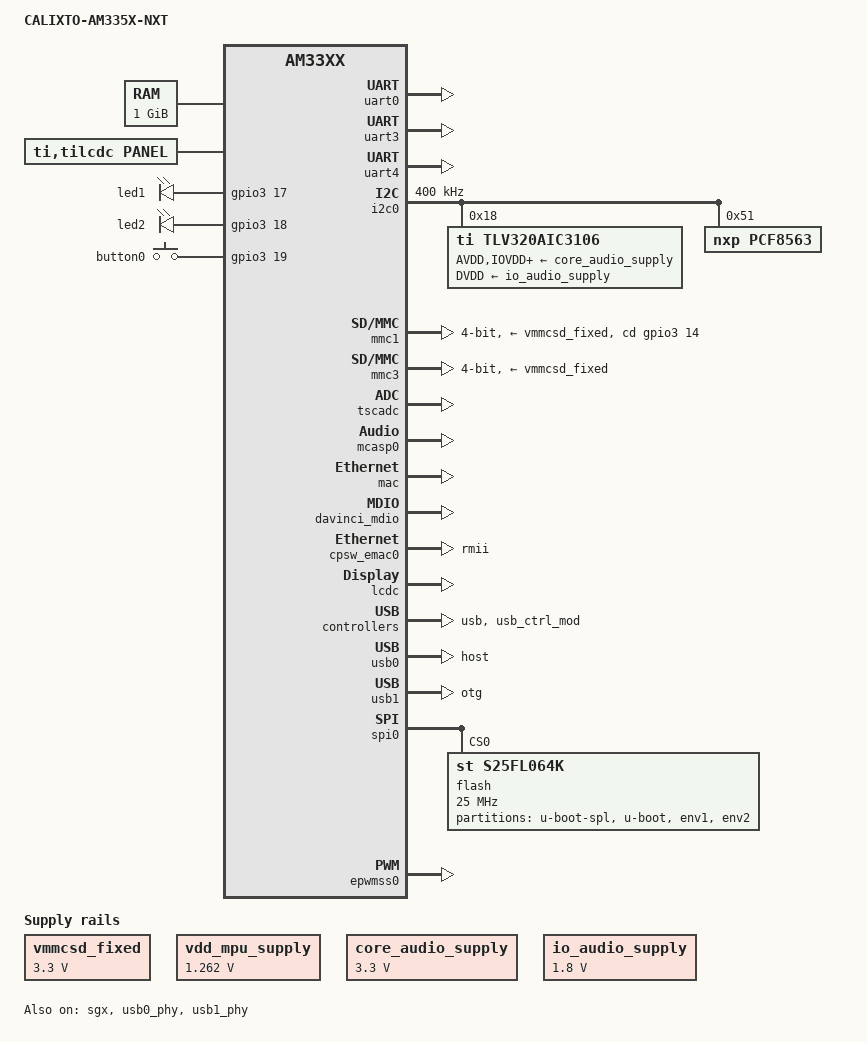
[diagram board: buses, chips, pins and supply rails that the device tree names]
/*
 * Copyright (C) 2012 Texas Instruments Incorporated - http://www.ti.com/
 *
 * This program is free software; you can redistribute it and/or modify
 * it under the terms of the GNU General Public License version 2 as
 * published by the Free Software Foundation.
 */
/dts-v1/;

#include "am33xx.dtsi"
#include <dt-bindings/interrupt-controller/irq.h>

/ {
	model = "CALIXTO-AM335X-NXT";
	compatible = "ti,am335x-evm", "ti,am33xx";

	cpus {
		cpu@0 {
			cpu0-supply = <&vdd_mpu_supply>;
		};
	};

	memory {
		device_type = "memory";
		reg = <0x80000000 0x40000000>; /* 1024MB */
	};

	vmmcsd_fixed: fixedregulator@1 {
                compatible = "regulator-fixed";
                regulator-name = "vmmcsd-regulator";
                regulator-min-microvolt = <3300000>;
                regulator-max-microvolt = <3300000>;
                enable-active-high;
                regulator-always-on;
        };

        vdd_mpu_supply: fixedregulator@2 {
                compatible = "regulator-fixed";
                regulator-name = "vdd-mpu-regulator";
                regulator-min-microvolt = <1262000>;
                regulator-max-microvolt = <1262000>;
                regulator-boot-on;
                regulator-always-on;
        };

	core_audio_supply: fixedregulator-audiocore {
                compatible = "regulator-fixed";
                regulator-name = "core_audio_supply";
                regulator-min-microvolt = <3300000>;
                regulator-max-microvolt = <3300000>;
                regulator-boot-on;
        };

        io_audio_supply: fixedregulator-audioio {
                compatible = "regulator-fixed";
                regulator-name = "io_audio_supply";
                regulator-min-microvolt = <1800000>;
                regulator-max-microvolt = <1800000>;
                regulator-boot-on;
        };

	panel {
                compatible = "ti,tilcdc,panel";
                pinctrl-names = "default", "sleep";
                pinctrl-0 = <&lcd_pins_default>;
                pinctrl-1 = <&lcd_pins_sleep>;
                status = "okay";
                panel-info {
                        ac-bias           = <255>;
                        ac-bias-intrpt    = <0>;
                        dma-burst-sz      = <16>;
                        bpp               = <16>;
                        fdd               = <0x80>;
                        sync-edge         = <0>;
                        sync-ctrl         = <1>;
                        raster-order      = <0>;
                        fifo-th           = <0>;
                };
                display-timings {
                        480x272 {
                          hactive         = <480>;
                          vactive         = <272>;
                          hback-porch     = <2>;
                          hfront-porch    = <2>;
                          hsync-len       = <41>;
                          vback-porch     = <2>;
                          vfront-porch    = <12>;
                          vsync-len       = <10>;
                          clock-frequency = <9000000>;
                          hsync-active    = <0>;
                          vsync-active    = <0>;
			};
                };
        };

	sound {
            compatible = "ti,da830-evm-audio";
            ti,model = "CALIXTO-AM335X-NXT";
            ti,audio-codec = <&tlv320aic3106>;
            ti,mcasp-controller = <&mcasp0>;
            ti,codec-clock-rate = <24576000>;
            ti,audio-routing =
                    "Headphone Jack",       "HPLOUT",
                    "Headphone Jack",       "HPROUT",
                    "Line Out",             "LLOUT",
                    "Line Out",             "RLOUT",
                    "LINE1L",               "Line In",
                    "LINE1R",               "Line In",
                    "MIC3L",                "Mic Jack",
                    "MIC3R",                "Mic Jack";
        };

	leds {
		pinctrl-names = "default", "sleep";
		pinctrl-0 = <&user_leds_default>;
		pinctrl-1 = <&user_leds_sleep>;

		compatible = "gpio-leds";

		led@1 {
			label = "led1";
			gpios = <&gpio3 17 GPIO_ACTIVE_HIGH>;
			linux,default-trigger = "heartbeat";
			default-state = "on";
		};

		led@2 {
			label = "led2";
			gpios = <&gpio3 18 GPIO_ACTIVE_HIGH>;
			linux,default-trigger = "heartbeat";
			default-state = "on";
		};
	};

	gpio_buttons: gpio_buttons@0 {
		compatible = "gpio-keys";
		pinctrl-names = "default";
		pinctrl-0 = <&gpio_keys_s0>;
		#address-cells = <1>;
		#size-cells = <0>;

		switch@1 {
			label = "button0";
			linux,code = <0x100>;
			gpios = <&gpio3 19 GPIO_ACTIVE_HIGH>;
		};
	};

};

&am33xx_pinmux {
	pinctrl-names = "default";
	pinctrl-0 = <&clkout2_pin>;

	user_leds_default: user_leds_default {
		pinctrl-single,pins = <
			0x19C ( PIN_OUTPUT_PULLDOWN | MUX_MODE7 ) /* mcasp0_ahclkr.gpio3_17 */
			0x1A0 ( PIN_OUTPUT_PULLDOWN | MUX_MODE7 ) /* mcasp0_aclkr.gpio3_18 */
		>;
	};

	user_leds_sleep: user_leds_sleep {
		pinctrl-single,pins = <
			0x19C ( PIN_INPUT_PULLDOWN | MUX_MODE7 ) /* mcasp0_ahclkr.gpio3_17 */
			0x1A0 ( PIN_INPUT_PULLDOWN | MUX_MODE7 ) /* mcasp0_aclkr.gpio3_18 */
		>;
	};

	gpio_keys_s0: gpio_keys_s0 {
		pinctrl-single,pins = <
			0x1A4 ( PIN_INPUT_PULLDOWN | MUX_MODE7 ) /* mcasp0_fsr.gpio3_19 */
		>;
	};

	uart0_pins: pinmux_uart0_pins {
		pinctrl-single,pins = <
			0x170 (PIN_INPUT_PULLUP | MUX_MODE0)	/* uart0_rxd.uart0_rxd */
			0x174 (PIN_OUTPUT_PULLDOWN | MUX_MODE0)	/* uart0_txd.uart0_txd */
		>;
	};
	
        i2c0_pins: pinmux_i2c0_pins {
               pinctrl-single,pins = <
                       0x188 (PIN_INPUT_PULLUP | MUX_MODE0)    /* i2c0_sda.i2c0_sda */
                       0x18c (PIN_INPUT_PULLUP | MUX_MODE0)    /* i2c0_scl.i2c0_scl */
               >;
        };

        uart4_pins: pinmux_uart4_pins {
               pinctrl-single,pins = <
                       0x168 (PIN_INPUT_PULLUP    | MUX_MODE1)  /* uart0_ctsn.uart4_rxd */
                       0x16C (PIN_OUTPUT_PULLDOWN | MUX_MODE1)  /* uart0_rtsn.uart4_txd */
               >;
        };

        uart3_pins: pinmux_uart3_pins {
               pinctrl-single,pins = <
                       0x160 (PIN_INPUT_PULLUP    | MUX_MODE1)  /* spi0_cs1.uart3_rxd  */
                       0x138 (PIN_OUTPUT_PULLDOWN | MUX_MODE1)  /* mii1_rxd2.uart3_txd */
               >;
        };

        clkout2_pin: pinmux_clkout2_pin {
                pinctrl-single,pins = <
                        0x1b4 (PIN_OUTPUT_PULLDOWN | MUX_MODE3) /* xdma_event_intr1.clkout2 */
                >;
        };

        mmc1_pins_default: pinmux_mmc1_pins {
                pinctrl-single,pins = <
                        0x0F0 (PIN_INPUT_PULLUP | MUX_MODE0)    /* mmc0_dat3.mmc0_dat3 */
                        0x0F4 (PIN_INPUT_PULLUP | MUX_MODE0)    /* mmc0_dat2.mmc0_dat2 */
                        0x0F8 (PIN_INPUT_PULLUP | MUX_MODE0)    /* mmc0_dat1.mmc0_dat1 */
                        0x0FC (PIN_INPUT_PULLUP | MUX_MODE0)    /* mmc0_dat0.mmc0_dat0 */
                        0x100 (PIN_INPUT_PULLUP | MUX_MODE0)    /* mmc0_clk.mmc0_clk */
                        0x104 (PIN_INPUT_PULLUP | MUX_MODE0)    /* mmc0_cmd.mmc0_cmd */
                        0x190 (PIN_INPUT | MUX_MODE7)           /* mcasp0_aclkx.gpio3_14 */
                >;
        };

	mmc1_pins_sleep: pinmux_mmc1_pins_sleep {
                pinctrl-single,pins = <
                        0x0F0 (PIN_INPUT_PULLDOWN | MUX_MODE7)
                        0x0F4 (PIN_INPUT_PULLDOWN | MUX_MODE7)
                        0x0F8 (PIN_INPUT_PULLDOWN | MUX_MODE7)
                        0x0FC (PIN_INPUT_PULLDOWN | MUX_MODE7)
                        0x100 (PIN_INPUT_PULLDOWN | MUX_MODE7)
                        0x104 (PIN_INPUT_PULLDOWN | MUX_MODE7)
                        0x190 (PIN_INPUT | MUX_MODE7)
                >;
        };

	emmc_pins: pinmux_emmc_pins {
		pinctrl-single,pins = <
			0x8C (PIN_INPUT_PULLUP | MUX_MODE3) /* gpmc_clk.mmc2_clk */
			0x88 (PIN_INPUT_PULLUP | MUX_MODE3) /* gpmc_csn3.mmc2_cmd */
			0x30 (PIN_INPUT_PULLUP | MUX_MODE3) /* gpmc_ad12.mmc2_dat0 */
			0x34 (PIN_INPUT_PULLUP | MUX_MODE3) /* gpmc_ad13.mmc2_dat1 */
			0x38 (PIN_INPUT_PULLUP | MUX_MODE3) /* gpmc_ad14.mmc2_dat2 */
			0x3C (PIN_INPUT_PULLUP | MUX_MODE3) /* gpmc_ad15.mmc2_dat3 */
		>;
	};

	cpsw_default: cpsw_default {
		pinctrl-single,pins = <
			/* Slave 1 */
			0x10c (PIN_INPUT_PULLDOWN  | MUX_MODE1)  /* mii1_crs.rmii1_crs_dv */
			0x110 (PIN_INPUT_PULLDOWN  | MUX_MODE1)  /* mii1_rxerr.mii1_rxerr */
			0x114 (PIN_OUTPUT_PULLDOWN | MUX_MODE1)  /* mii1_txen.mii1_txen   */
			0x124 (PIN_OUTPUT_PULLDOWN | MUX_MODE1)  /* mii1_txd1.mii1_txd1   */
			0x128 (PIN_OUTPUT_PULLDOWN | MUX_MODE1)  /* mii1_txd0.mii1_txd0   */
			0x13c (PIN_INPUT_PULLDOWN  | MUX_MODE1)  /* mii1_rxd1.mii1_rxd2   */
			0x140 (PIN_INPUT_PULLDOWN  | MUX_MODE1)  /* mii1_rxd0.mii1_rxd0   */
			0x144 (PIN_INPUT_PULLDOWN  | MUX_MODE0)  /* rmii1_refclk.rmii1_refclk */
		>;
	};

	cpsw_sleep: cpsw_sleep {
		pinctrl-single,pins = <
			/* Slave 1 reset value */
			0x10c (PIN_INPUT_PULLDOWN | MUX_MODE7)
			0x110 (PIN_INPUT_PULLDOWN | MUX_MODE7)
			0x114 (PIN_INPUT_PULLDOWN | MUX_MODE7)
			0x124 (PIN_INPUT_PULLDOWN | MUX_MODE7)
			0x128 (PIN_INPUT_PULLDOWN | MUX_MODE7)
			0x13c (PIN_INPUT_PULLDOWN | MUX_MODE7)
			0x140 (PIN_INPUT_PULLDOWN | MUX_MODE7)
			0x144 (PIN_INPUT_PULLDOWN | MUX_MODE7)
		>;
	};

	davinci_mdio_default: davinci_mdio_default {
		pinctrl-single,pins = <
			/* MDIO */
			0x148 (PIN_INPUT_PULLUP  | SLEWCTRL_FAST | MUX_MODE0)	/* mdio_data.mdio_data */
			0x14c (PIN_OUTPUT_PULLUP | MUX_MODE0)			/* mdio_clk.mdio_clk */
		>;
	};

	davinci_mdio_sleep: davinci_mdio_sleep {
		pinctrl-single,pins = <
			/* MDIO reset value */
			0x148 (PIN_INPUT_PULLDOWN | MUX_MODE7)
			0x14c (PIN_INPUT_PULLDOWN | MUX_MODE7)
		>;
	};

	lcd_pins_default: lcd_pins_default {
                pinctrl-single,pins = <
                        0xa0 0x00       /* lcd_data0.lcd_data0,   OUTPUT | MODE0 */
                        0xa4 0x00       /* lcd_data1.lcd_data1,   OUTPUT | MODE0 */
                        0xa8 0x00       /* lcd_data2.lcd_data2,   OUTPUT | MODE0 */
                        0xac 0x00       /* lcd_data3.lcd_data3,   OUTPUT | MODE0 */
                        0xb0 0x00       /* lcd_data4.lcd_data4,   OUTPUT | MODE0 */
                        0xb4 0x00       /* lcd_data5.lcd_data5,   OUTPUT | MODE0 */
                        0xb8 0x00       /* lcd_data6.lcd_data6,   OUTPUT | MODE0 */
                        0xbc 0x00       /* lcd_data7.lcd_data7,   OUTPUT | MODE0 */
                        0xc0 0x00       /* lcd_data8.lcd_data8,   OUTPUT | MODE0 */
                        0xc4 0x00       /* lcd_data9.lcd_data9,   OUTPUT | MODE0 */
                        0xc8 0x00       /* lcd_data10.lcd_data10, OUTPUT | MODE0 */
                        0xcc 0x00       /* lcd_data11.lcd_data11, OUTPUT | MODE0 */
                        0xd0 0x00       /* lcd_data12.lcd_data12, OUTPUT | MODE0 */
                        0xd4 0x00       /* lcd_data13.lcd_data13, OUTPUT | MODE0 */
                        0xd8 0x00       /* lcd_data14.lcd_data14, OUTPUT | MODE0 */
                        0xdc 0x00       /* lcd_data15.lcd_data15, OUTPUT | MODE0 */
                        0xe0 0x00       /* lcd_vsync.lcd_vsync,   OUTPUT | MODE0 */
                        0xe4 0x00       /* lcd_hsync.lcd_hsync,   OUTPUT | MODE0 */
                        0xe8 0x00       /* lcd_pclk.lcd_pclk,     OUTPUT | MODE0 */
                        0xec 0x00       /* lcd_ac_bias_en.lcd_ac_bias_en, OUTPUT | MODE0 */
                >;
         };

	 lcd_pins_sleep: lcd_pins_sleep {
                pinctrl-single,pins = <
                        0xa0 (PULL_DISABLE | MUX_MODE7)         /* lcd_data0.lcd_data0 */
                        0xa4 (PULL_DISABLE | MUX_MODE7)         /* lcd_data1.lcd_data1 */
                        0xa8 (PULL_DISABLE | MUX_MODE7)         /* lcd_data2.lcd_data2 */
                        0xac (PULL_DISABLE | MUX_MODE7)         /* lcd_data3.lcd_data3 */
                        0xb0 (PULL_DISABLE | MUX_MODE7)         /* lcd_data4.lcd_data4 */
                        0xb4 (PULL_DISABLE | MUX_MODE7)         /* lcd_data5.lcd_data5 */
                        0xb8 (PULL_DISABLE | MUX_MODE7)         /* lcd_data6.lcd_data6 */
                        0xbc (PULL_DISABLE | MUX_MODE7)         /* lcd_data7.lcd_data7 */
                        0xc0 (PULL_DISABLE | MUX_MODE7)         /* lcd_data8.lcd_data8 */
                        0xc4 (PULL_DISABLE | MUX_MODE7)         /* lcd_data9.lcd_data9 */
                        0xc8 (PULL_DISABLE | MUX_MODE7)         /* lcd_data10.lcd_data10 */
                        0xcc (PULL_DISABLE | MUX_MODE7)         /* lcd_data11.lcd_data11 */
                        0xd0 (PULL_DISABLE | MUX_MODE7)         /* lcd_data12.lcd_data12 */
                        0xd4 (PULL_DISABLE | MUX_MODE7)         /* lcd_data13.lcd_data13 */
                        0xd8 (PULL_DISABLE | MUX_MODE7)         /* lcd_data14.lcd_data14 */
                        0xdc (PULL_DISABLE | MUX_MODE7)         /* lcd_data15.lcd_data15 */
                        0xe0 (PIN_INPUT_PULLDOWN | MUX_MODE7)   /* lcd_vsync.lcd_vsync, OUTPUT | MODE0 */
                        0xe4 (PIN_INPUT_PULLDOWN | MUX_MODE7)   /* lcd_hsync.lcd_hsync */
                        0xe8 (PIN_INPUT_PULLDOWN | MUX_MODE7)   /* lcd_pclk.lcd_pclk */
                        0xec (PIN_INPUT_PULLDOWN | MUX_MODE7)   /* lcd_ac_bias_en.lcd_ac_bias_en */
                >;
        };

	mcasp0_pins: mcasp0_pins {
                pinctrl-single,pins = <
                        0x12C (PIN_INPUT_PULLDOWN  | MUX_MODE6) /* mii1_txclk.mcasp0_aclkx */
                        0x194 (PIN_INPUT_PULLDOWN  | MUX_MODE0) /* mcasp0_fsx.mcasp0_fsx   */
                        0x134 (PIN_OUTPUT_PULLDOWN | MUX_MODE6) /* mii1_rxd3.mcasp0_axr0   */
                        0x1A8 (PIN_INPUT_PULLDOWN  | MUX_MODE0) /* mcasp0_axr1.mcasp0_axr1 */
                >;
        };

        mcasp0_sleep_pins: mcasp0_sleep_pins {
                pinctrl-single,pins = <
                        0x12C (PIN_INPUT_PULLDOWN | MUX_MODE7)
                        0x194 (PIN_INPUT_PULLDOWN | MUX_MODE7)
                        0x134 (PIN_INPUT_PULLDOWN | MUX_MODE7)
                        0x1A8 (PIN_INPUT_PULLDOWN | MUX_MODE7)
                >;
        };

	nandflash_pins_default: nandflash_pins_default {
                pinctrl-single,pins = <
                        0x0 (PIN_INPUT_PULLUP | MUX_MODE0)      /* gpmc_ad0.gpmc_ad0 */
                        0x4 (PIN_INPUT_PULLUP | MUX_MODE0)      /* gpmc_ad1.gpmc_ad1 */
                        0x8 (PIN_INPUT_PULLUP | MUX_MODE0)      /* gpmc_ad2.gpmc_ad2 */
                        0xc (PIN_INPUT_PULLUP | MUX_MODE0)      /* gpmc_ad3.gpmc_ad3 */
                        0x10 (PIN_INPUT_PULLUP | MUX_MODE0)     /* gpmc_ad4.gpmc_ad4 */
                        0x14 (PIN_INPUT_PULLUP | MUX_MODE0)     /* gpmc_ad5.gpmc_ad5 */
                        0x18 (PIN_INPUT_PULLUP | MUX_MODE0)     /* gpmc_ad6.gpmc_ad6 */
                        0x1c (PIN_INPUT_PULLUP | MUX_MODE0)     /* gpmc_ad7.gpmc_ad7 */
                        0x70 (PIN_INPUT_PULLUP | MUX_MODE0)     /* gpmc_wait0.gpmc_wait0 */
                        0x7c (PIN_OUTPUT | MUX_MODE0)           /* gpmc_csn0.gpmc_csn0  */
                        0x90 (PIN_OUTPUT | MUX_MODE0)           /* gpmc_advn_ale.gpmc_advn_ale */
                        0x94 (PIN_OUTPUT | MUX_MODE0)           /* gpmc_oen_ren.gpmc_oen_ren */
                        0x98 (PIN_OUTPUT | MUX_MODE0)           /* gpmc_wen.gpmc_wen */
                        0x9c (PIN_OUTPUT | MUX_MODE0)           /* gpmc_be0n_cle.gpmc_be0n_cle */
                >;
        };

	nandflash_pins_sleep: nandflash_pins_sleep {
                pinctrl-single,pins = <
                        0x0 (PIN_INPUT_PULLDOWN | MUX_MODE7)
                        0x4 (PIN_INPUT_PULLDOWN | MUX_MODE7)
                        0x8 (PIN_INPUT_PULLDOWN | MUX_MODE7)
                        0xc (PIN_INPUT_PULLDOWN | MUX_MODE7)
                        0x10 (PIN_INPUT_PULLDOWN | MUX_MODE7)
                        0x14 (PIN_INPUT_PULLDOWN | MUX_MODE7)
                        0x18 (PIN_INPUT_PULLDOWN | MUX_MODE7)
                        0x1c (PIN_INPUT_PULLDOWN | MUX_MODE7)
                        0x70 (PIN_INPUT_PULLDOWN | MUX_MODE7)
                        0x74 (PIN_INPUT_PULLDOWN | MUX_MODE7)
                        0x7c (PIN_INPUT_PULLDOWN | MUX_MODE7)
                        0x90 (PIN_INPUT_PULLDOWN | MUX_MODE7)
                        0x94 (PIN_INPUT_PULLDOWN | MUX_MODE7)
                        0x98 (PIN_INPUT_PULLDOWN | MUX_MODE7)
                        0x9c (PIN_INPUT_PULLDOWN | MUX_MODE7)
                >;
        };

	spi0_pins: pinmux_spi0_pins {
		pinctrl-single,pins = <
			0x150 ( PIN_INPUT_PULLUP | MUX_MODE0 ) /* (A17) spi0_sclk.spi0_sclk */
			0x154 ( PIN_INPUT_PULLUP | MUX_MODE0 ) /* (B17) spi0_d0.spi0_d0 */
			0x158 ( PIN_OUTPUT_PULLUP | MUX_MODE0 ) /* (B16) spi0_d1.spi0_d1 */
			0x15c ( PIN_OUTPUT_PULLUP | MUX_MODE0 ) /* (A16) spi0_cs0.spi0_cs0 */
		>;
	};

	ecap0_pins_default: ecap0_pins_default {
		pinctrl-single,pins = <
			0x164 ( PIN_OUTPUT | MUX_MODE0 ) /* (E18) eCAP0_in_PWM0_out.eCAP0_in_PWM0_out */
		>;
	};

};

&uart0 {
	pinctrl-names = "default";
	pinctrl-0 = <&uart0_pins>;
	status = "okay";
};

&uart3 {
        pinctrl-names = "default";
        pinctrl-0 = <&uart3_pins>;
        status = "okay";
};

&uart4 {
        pinctrl-names = "default";
        pinctrl-0 = <&uart4_pins>;
        status = "okay";
};

&i2c0 {
        pinctrl-names = "default";
        pinctrl-0 = <&i2c0_pins>;
        status = "okay";
        clock-frequency = <400000>;
	
	  tlv320aic3106: tlv320aic3106@18 {
             	compatible = "ti,tlv320aic3106";
             	reg = <0x18>;
             	ai3x-micbias-vg = <1>;
             	status = "okay";

             	/* Regulators */
             	AVDD-supply  = <&core_audio_supply>;
            	IOVDD-supply = <&core_audio_supply>;
             	DRVDD-supply = <&core_audio_supply>;
             	DVDD-supply  = <&io_audio_supply>;
	  };
	
	  pcf8563: pcf8563@51 {
          	compatible = "nxp,pcf8563";
             	reg = <0x51>;
          };
};

&mmc1 {
	status = "okay";
	vmmc-supply = <&vmmcsd_fixed>;
	bus-width = <4>;
	pinctrl-names = "default", "sleep";
	pinctrl-0 = <&mmc1_pins_default>;
	pinctrl-1 = <&mmc1_pins_sleep>;
	cd-gpios = <&gpio3 14 GPIO_ACTIVE_HIGH>;
};

&mmc3 {
	status = "okay";
	pinctrl-names = "default";
	pinctrl-0 = <&emmc_pins>;
        vmmc-supply = <&vmmcsd_fixed>;
	bus-width = <4>;
	ti,non-removable;
	dmas = <&edma_xbar 12 0 1
                &edma_xbar 13 0 2>;
        dma-names = "tx", "rx";
};

&tscadc {
        status = "okay";
        tsc {
                ti,wires = <4>;
                ti,x-plate-resistance = <200>;
                ti,coordinate-readouts = <5>;
                ti,wire-config = <0x00 0x11 0x22 0x33>;
        };
        adc {
                ti,adc-channels = <4 5 6 7>;
        };
};

&mcasp0 {
          pinctrl-names = "default", "sleep";
          pinctrl-0 = <&mcasp0_pins>;
          pinctrl-1 = <&mcasp0_sleep_pins>;

          status = "okay";

          op-mode = <0>;          /* MCASP_IIS_MODE */
          tdm-slots = <2>;
          /* 16 serializer */
          serial-dir = <  /* 0: INACTIVE, 1: TX, 2: RX */
                 1 2 0 0
          >;
          tx-num-evt = <32>;
          rx-num-evt = <32>;
};

&mac {
	slaves = <1>;
	pinctrl-names = "default", "sleep";
	pinctrl-0 = <&cpsw_default>;
	pinctrl-1 = <&cpsw_sleep>;
	status = "okay";
};

&davinci_mdio {
	pinctrl-names = "default", "sleep";
	pinctrl-0 = <&davinci_mdio_default>;
	pinctrl-1 = <&davinci_mdio_sleep>;
	status = "okay";
};

&cpsw_emac0 {
	phy_id = <&davinci_mdio>, <0>;
	phy-mode = "rmii";
};

&phy_sel {
	rmii-clock-ext;
};

&rtc {
	system-power-controller;
};

&lcdc {
      status = "okay";
};

&sgx {
      status = "okay";
};

&usb {
      status = "okay";
};

&usb_ctrl_mod {
      status = "okay";
};

&usb0_phy {
     status = "okay";
};

&usb1_phy {
     status = "okay";
};

&usb0 {
     status = "okay";
     dr_mode = "host";
};

&usb1 {
     status = "okay";
     dr_mode = "otg";
};

&cppi41dma  {
     status = "okay";
};

/*
 * SPI Flash (1MiB)
 * 0x000000 - 0x01FFFF : SPL (128KiB)
 * 0x020000 - 0x09FFFF : U-Boot (512KiB)
 * 0x0A0000 - 0x0BFFFF : First copy of U-Boot Environment (128KiB)
 * 0x0C0000 - 0x0DFFFF : Second copy of U-Boot Environment (128KiB)
 */
&spi0 {
	pinctrl-names = "default";
	pinctrl-0 = <&spi0_pins>;
	status = "okay";

	flash: s25fl064k@0 {
		 #address-cells = <1>;
		 #size-cells = <1>;
		 compatible = "st,s25fl064k";
		 spi-max-frequency = <25000000>;
		 reg = <0>;


		 partition@0 {
			 label = "u-boot-spl";
			 reg = <0x000000 0x020000>;
		 };


		 partition@1 {
			 label = "u-boot";
			 reg = <0x020000 0x080000>;
		 };

		 partition@2 {
			 label = "env1";
			 reg = <0x0A0000 0x010000>;
		 };

		 partition@3 {
			 label = "env2";
			 reg = <0x0B0000 0x010000>;
		 };

	};
};

&epwmss0 {
	status = "okay";

	ecap0: ecap@48300100 {
		status = "okay";
		pinctrl-names = "default";
		pinctrl-0 = <&ecap0_pins_default>;
	};
};
